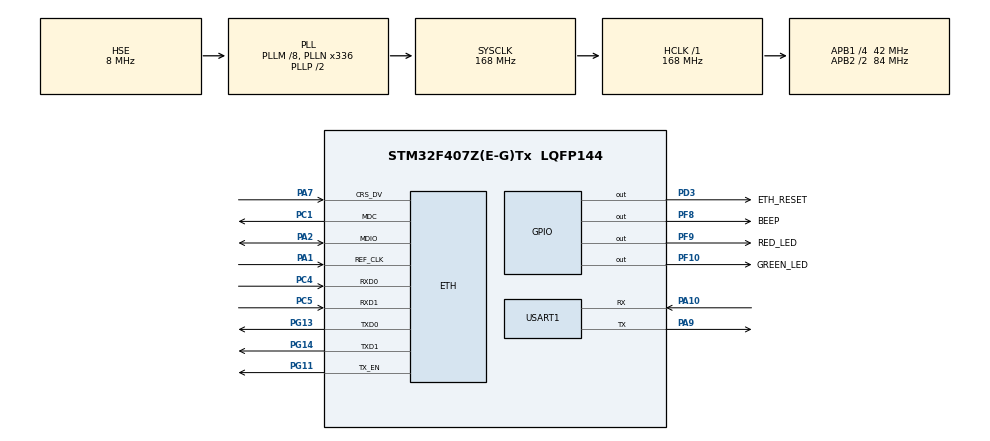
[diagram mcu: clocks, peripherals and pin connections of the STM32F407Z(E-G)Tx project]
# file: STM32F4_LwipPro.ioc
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Dma.Request0=USART1_RX
Dma.Request1=USART1_TX
Dma.USART1_RX.0.Direction=DMA_PERIPH_TO_MEMORY
Dma.USART1_RX.0.FIFOMode=DMA_FIFOMODE_DISABLE
Dma.USART1_RX.0.Instance=DMA2_Stream2
Dma.USART1_RX.0.MemDataAlignment=DMA_MDATAALIGN_BYTE
Dma.USART1_RX.0.MemInc=DMA_MINC_ENABLE
Dma.USART1_RX.0.Mode=DMA_NORMAL
Dma.USART1_RX.0.PeriphDataAlignment=DMA_PDATAALIGN_BYTE
Dma.USART1_RX.0.PeriphInc=DMA_PINC_DISABLE
Dma.USART1_RX.0.Priority=DMA_PRIORITY_HIGH
Dma.USART1_TX.1.Direction=DMA_MEMORY_TO_PERIPH
Dma.USART1_TX.1.FIFOMode=DMA_FIFOMODE_DISABLE
Dma.USART1_TX.1.Instance=DMA2_Stream7
Dma.USART1_TX.1.MemDataAlignment=DMA_MDATAALIGN_BYTE
Dma.USART1_TX.1.MemInc=DMA_MINC_ENABLE
Dma.USART1_TX.1.Mode=DMA_NORMAL
Dma.USART1_TX.1.PeriphDataAlignment=DMA_PDATAALIGN_BYTE
Dma.USART1_TX.1.PeriphInc=DMA_PINC_DISABLE
Dma.USART1_TX.1.Priority=DMA_PRIORITY_HIGH
ETH.MediaInterface=ETH_MEDIA_INTERFACE_RMII
ETH.PHY_Name_RMII=userPHY
ETH.PHY_User_Name=LAN8720A
ETH.PhyAddress=0
FREERTOS.Tasks01=defaultTask,24,128,StartDefaultTask,Default,NULL,Dynamic,NULL,NULL
LWIP.GATEWAY_ADDRESS=192.168.001.001
LWIP.IP_ADDRESS=192.168.001.101
LWIP.LWIP_DHCP=1
LWIP.LWIP_NETIF_LINK_CALLBACK=1
LWIP.LWIP_NETIF_STATUS_CALLBACK=1
LWIP.NETMASK_ADDRESS=255.255.255.000
LWIP.Version=v2.1.2_Cube
Mcu.Family=STM32F4
Mcu.Name=STM32F407Z(E-G)Tx
Mcu.Package=LQFP144
NVIC.ETH_IRQn=true\:6\:0\:true\:false\:true\:true\:false\:true
NVIC.PriorityGroup=NVIC_PRIORITYGROUP_4
NVIC.TIM1_UP_TIM10_IRQn=true\:0\:0\:false\:false\:true\:false\:false\:true
NVIC.TimeBase=TIM1_UP_TIM10_IRQn
NVIC.TimeBaseIP=TIM1
NVIC.USART1_IRQn=true\:10\:0\:true\:false\:true\:true\:true\:true
PA1.Mode=RMII
PA1.Signal=ETH_REF_CLK
PA10.Mode=Asynchronous
PA10.Signal=USART1_RX
PA13.Mode=Serial_Wire
PA13.Signal=SYS_JTMS-SWDIO
PA14.Mode=Serial_Wire
PA14.Signal=SYS_JTCK-SWCLK
PA2.Mode=RMII
PA2.Signal=ETH_MDIO
PA7.Mode=RMII
PA7.Signal=ETH_CRS_DV
PA9.Mode=Asynchronous
PA9.Signal=USART1_TX
PC1.Mode=RMII
PC1.Signal=ETH_MDC
PC4.Mode=RMII
PC4.Signal=ETH_RXD0
PC5.Mode=RMII
PC5.Signal=ETH_RXD1
PD3.GPIO_Label=ETH_RESET
PD3.GPIO_Speed=GPIO_SPEED_FREQ_MEDIUM
PD3.PinState=GPIO_PIN_SET
PD3.Signal=GPIO_Output
PF10.GPIO_Label=GREEN_LED
PF10.GPIO_Speed=GPIO_SPEED_FREQ_MEDIUM
PF10.PinState=GPIO_PIN_SET
PF10.Signal=GPIO_Output
PF8.GPIO_Label=BEEP
PF8.GPIO_Speed=GPIO_SPEED_FREQ_MEDIUM
PF8.Signal=GPIO_Output
PF9.GPIO_Label=RED_LED
PF9.GPIO_Speed=GPIO_SPEED_FREQ_HIGH
PF9.PinState=GPIO_PIN_SET
PF9.Signal=GPIO_Output
PG11.Mode=RMII
PG11.Signal=ETH_TX_EN
PG13.Mode=RMII
PG13.Signal=ETH_TXD0
PG14.Mode=RMII
PG14.Signal=ETH_TXD1
PH0-OSC_IN.Mode=HSE-External-Oscillator
PH0-OSC_IN.Signal=RCC_OSC_IN
PH1-OSC_OUT.Mode=HSE-External-Oscillator
PH1-OSC_OUT.Signal=RCC_OSC_OUT
ProjectManager.HeapSize=0x200
ProjectManager.StackSize=0x4000
ProjectManager.TargetToolchain=MDK-ARM V5
RCC.48MHZClocksFreq_Value=84000000
RCC.AHBFreq_Value=168000000
RCC.APB1CLKDivider=RCC_HCLK_DIV4
RCC.APB1Freq_Value=42000000
RCC.APB1TimFreq_Value=84000000
RCC.APB2CLKDivider=RCC_HCLK_DIV2
RCC.APB2Freq_Value=84000000
RCC.APB2TimFreq_Value=168000000
RCC.CortexFreq_Value=168000000
RCC.HCLKFreq_Value=168000000
RCC.HSE_VALUE=8000000
RCC.HSI_VALUE=16000000
RCC.LSE_VALUE=32768
RCC.PLLM=8
RCC.PLLN=336
RCC.PLLSourceVirtual=RCC_PLLSOURCE_HSE
RCC.SYSCLKFreq_VALUE=168000000
RCC.SYSCLKSource=RCC_SYSCLKSOURCE_PLLCLK
RCC.VCOOutputFreq_Value=336000000
USART1.VirtualMode=VM_ASYNC
VP_FREERTOS_VS_CMSIS_V2.Mode=CMSIS_V2
VP_LWIP_VS_Enabled.Mode=Enabled
VP_SYS_VS_tim1.Mode=TIM1
board=custom

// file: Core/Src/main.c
/* USER CODE BEGIN Header */
/**
  ******************************************************************************
  * @file           : main.c
  * @brief          : Main program body
  ******************************************************************************
  * @attention
  *
  * <h2><center>&copy; Copyright (c) 2020 STMicroelectronics.
  * All rights reserved.</center></h2>
  *
  * This software component is licensed by ST under Ultimate Liberty license
  * SLA0044, the "License"; You may not use this file except in compliance with
  * the License. You may obtain a copy of the License at:
  *                             www.st.com/SLA0044
  *
  ******************************************************************************
  */
/* USER CODE END Header */
#include "main.h"
#include "cmsis_os.h"
#include "dma.h"
#include "lwip.h"
#include "usart.h"
#include "gpio.h"

void SystemClock_Config(void);
void MX_FREERTOS_Init(void);

int main(void)
{

  /* MCU Configuration--------------------------------------------------------*/

  /* Reset of all peripherals, Initializes the Flash interface and the Systick. */
  HAL_Init();

  /* Configure the system clock */
  SystemClock_Config();

  /* Initialize all configured peripherals */
  MX_GPIO_Init();
  MX_DMA_Init();
  MX_USART1_UART_Init();

  /* Init scheduler */
  osKernelInitialize();  /* Call init function for freertos objects (in freertos.c) */
  MX_FREERTOS_Init();
  /* Start scheduler */
  osKernelStart();

  /* We should never get here as control is now taken by the scheduler */
  /* Infinite loop */
  while (1)
  {

  }
}

void SystemClock_Config(void)
{
  RCC_OscInitTypeDef RCC_OscInitStruct = {0};
  RCC_ClkInitTypeDef RCC_ClkInitStruct = {0};

  /** Configure the main internal regulator output voltage
  */
  __HAL_RCC_PWR_CLK_ENABLE();
  __HAL_PWR_VOLTAGESCALING_CONFIG(PWR_REGULATOR_VOLTAGE_SCALE1);
  /** Initializes the RCC Oscillators according to the specified parameters
  * in the RCC_OscInitTypeDef structure.
  */
  RCC_OscInitStruct.OscillatorType = RCC_OSCILLATORTYPE_HSE;
  RCC_OscInitStruct.HSEState = RCC_HSE_ON;
  RCC_OscInitStruct.PLL.PLLState = RCC_PLL_ON;
  RCC_OscInitStruct.PLL.PLLSource = RCC_PLLSOURCE_HSE;
  RCC_OscInitStruct.PLL.PLLM = 8;
  RCC_OscInitStruct.PLL.PLLN = 336;
  RCC_OscInitStruct.PLL.PLLP = RCC_PLLP_DIV2;
  RCC_OscInitStruct.PLL.PLLQ = 4;
  if (HAL_RCC_OscConfig(&RCC_OscInitStruct) != HAL_OK)
  {
    Error_Handler();
  }
  /** Initializes the CPU, AHB and APB buses clocks
  */
  RCC_ClkInitStruct.ClockType = RCC_CLOCKTYPE_HCLK|RCC_CLOCKTYPE_SYSCLK
                              |RCC_CLOCKTYPE_PCLK1|RCC_CLOCKTYPE_PCLK2;
  RCC_ClkInitStruct.SYSCLKSource = RCC_SYSCLKSOURCE_PLLCLK;
  RCC_ClkInitStruct.AHBCLKDivider = RCC_SYSCLK_DIV1;
  RCC_ClkInitStruct.APB1CLKDivider = RCC_HCLK_DIV4;
  RCC_ClkInitStruct.APB2CLKDivider = RCC_HCLK_DIV2;

  if (HAL_RCC_ClockConfig(&RCC_ClkInitStruct, FLASH_LATENCY_5) != HAL_OK)
  {
    Error_Handler();
  }
}

 /**
  * @brief  Period elapsed callback in non blocking mode
  * @note   This function is called  when TIM1 interrupt took place, inside
  * HAL_TIM_IRQHandler(). It makes a direct call to HAL_IncTick() to increment
  * a global variable "uwTick" used as application time base.
  * @param  htim : TIM handle
  * @retval None
  */
void HAL_TIM_PeriodElapsedCallback(TIM_HandleTypeDef *htim)
{
  if (htim->Instance == TIM1) {
    HAL_IncTick();
  }
}

void Error_Handler(void)
{
}

/************************ (C) COPYRIGHT STMicroelectronics *****END OF FILE****/

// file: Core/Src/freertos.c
/* USER CODE BEGIN Header */
/**
  ******************************************************************************
  * File Name          : freertos.c
  * Description        : Code for freertos applications
  ******************************************************************************
  * @attention
  *
  * <h2><center>&copy; Copyright (c) 2021 STMicroelectronics.
  * All rights reserved.</center></h2>
  *
  * This software component is licensed by ST under Ultimate Liberty license
  * SLA0044, the "License"; You may not use this file except in compliance with
  * the License. You may obtain a copy of the License at:
  *                             www.st.com/SLA0044
  *
  ******************************************************************************
  */
/* USER CODE END Header */

#include "FreeRTOS.h"
#include "task.h"
#include "main.h"
#include "cmsis_os.h"

/* USER CODE BEGIN Variables */
osMutexId_t ledCtrlMutex = NULL;
osMutexId_t beepCtrlMutex = NULL;

osThreadId_t mqttTaskHandle;
const osThreadAttr_t MqttTask_attributes = {
  .name = "MqttTask",
  .priority = (osPriority_t) osPriorityHigh,
  .stack_size = 1024 * 4,
};
extern void MqttTask(void *argument);

/* LED Task Attr */
osThreadId_t ledTaskHandle;
const osThreadAttr_t g_LedTaskAttributes = {
  .name = "led_task_name",
  .priority = (osPriority_t) osPriorityNormal1,
  .stack_size = 64 * 4,
};
extern void LedTask(void *argument);

/* BEEP Task Attr */
osThreadId_t beepTaskHandle;
const osThreadAttr_t g_BeepTaskAttributes = {
  .name = "beep_task_name",
  .priority = (osPriority_t) osPriorityNormal1,
  .stack_size = 64 * 4,
};
extern void BeepTask(void *argument);

/* USER CODE END Variables */
/* Definitions for defaultTask */
osThreadId_t defaultTaskHandle;
const osThreadAttr_t defaultTask_attributes = {
  .name = "defaultTask",
  .priority = (osPriority_t) osPriorityNormal,
  .stack_size = 128 * 4,
};

void StartDefaultTask(void *argument);

extern void MX_LWIP_Init(void);
void MX_FREERTOS_Init(void); /* (MISRA C 2004 rule 8.1) */

void MX_FREERTOS_Init(void) {

  /* USER CODE BEGIN RTOS_MUTEX */
  /* add mutexes, ... */
  ledCtrlMutex = osMutexNew(NULL);
  beepCtrlMutex = osMutexNew(NULL);
  /* USER CODE END RTOS_MUTEX */

  /* Create the thread(s) */
  /* creation of defaultTask */
  defaultTaskHandle = osThreadNew(StartDefaultTask, NULL, &defaultTask_attributes);

  /* USER CODE BEGIN RTOS_THREADS */
  /* add threads, ... */
  mqttTaskHandle = osThreadNew(MqttTask, NULL, &MqttTask_attributes);
  ledTaskHandle = osThreadNew(LedTask, NULL, &g_LedTaskAttributes);
  beepTaskHandle = osThreadNew(BeepTask, NULL, &g_BeepTaskAttributes);
  /* USER CODE END RTOS_THREADS */

}

void StartDefaultTask(void *argument)
{
  /* init code for LWIP */
  MX_LWIP_Init();
  for(;;)
  {
    osDelay(1);
  }
}

/************************ (C) COPYRIGHT STMicroelectronics *****END OF FILE****/
